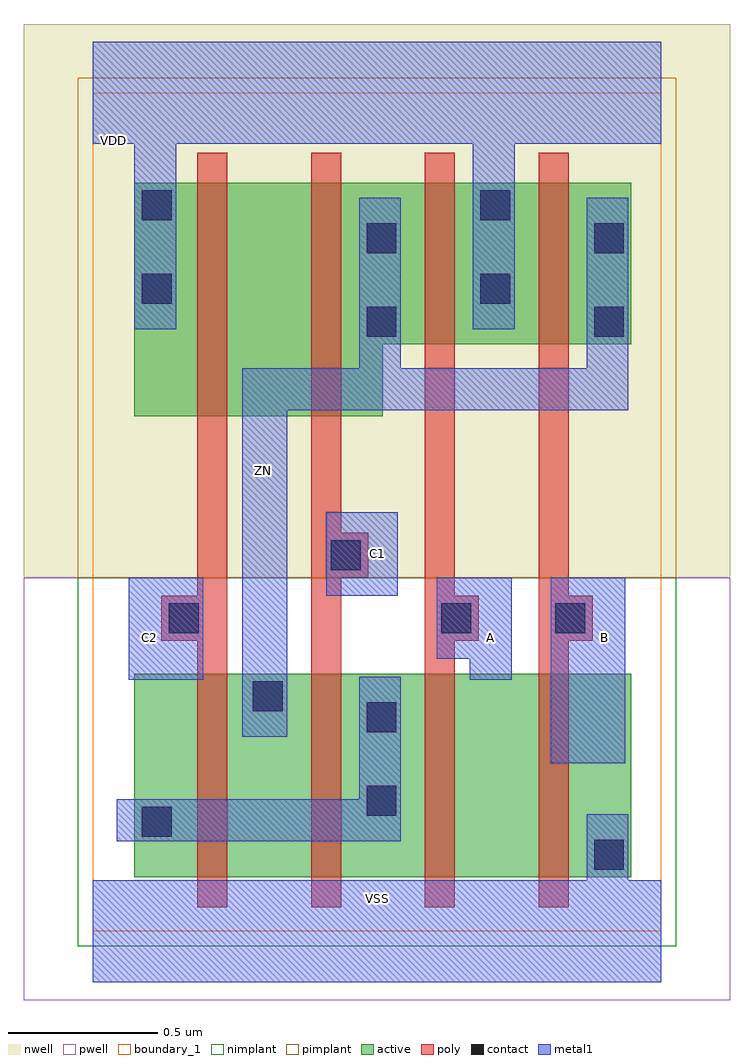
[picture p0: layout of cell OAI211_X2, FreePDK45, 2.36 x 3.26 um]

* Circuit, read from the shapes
.subckt OAI211_X2 A B C1 C2 VDD VSS ZN
M1 ZN C2 n1 VSUBS nfet w=0.68u l=0.1u
M2 n1 C1 ZN VSUBS nfet w=0.68u l=0.1u
M3 n2 A n1 VSUBS nfet w=0.68u l=0.1u
M4 VSS B n2 VSUBS nfet w=0.68u l=0.1u
M5 n3 C2 VDD n4 pfet w=0.78u l=0.1u
M6 ZN C1 n3 n4 pfet w=0.78u l=0.1u
M7 VDD A ZN n4 pfet w=0.54u l=0.1u
M8 ZN B VDD n4 pfet w=0.54u l=0.1u
.ends

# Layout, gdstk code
import gdstk
lib = gdstk.Library(unit=1e-6, precision=1e-09)
def R(c, l, rs):  # rectangles x0, y0, x1, y1
    for r in rs: c.add(gdstk.rectangle(r[:2], r[2:], *l))
def P(c, l, *ps):  # polygons
    for p in ps: c.add(gdstk.Polygon(p, *l))
active = (1, 0)
pwell = (2, 0)
nwell = (3, 0)
nimplant = (4, 0)
pimplant = (5, 0)
poly = (9, 0)
contact = (10, 0)
metal1 = (11, 0)
boundary_1 = (235, 1)

oai211_x2 = lib.new_cell('OAI211_X2')
R(oai211_x2, active, [(0.14,0.18,1.8,0.86)])
P(oai211_x2, active, [(0.14,1.72),(0.97,1.72),(0.97,1.96),(1.8,1.96),(1.8,2.5),(0.14,2.5)])
R(oai211_x2, pwell, [(-0.23,-0.23,2.13,1.18)])
R(oai211_x2, nwell, [(-0.23,1.18,2.13,3.03)])
R(oai211_x2, nimplant, [(-0.05,-0.05,1.95,1.18)])
R(oai211_x2, pimplant, [(-0.05,1.18,1.95,2.85)])
P(oai211_x2, poly, [(1.49,0.08),(1.59,0.08),(1.59,0.97),(1.67,0.97),(1.67,1.12),(1.59,1.12),(1.59,2.6),(1.49,2.6)],
  [(1.11,0.08),(1.21,0.08),(1.21,0.97),(1.29,0.97),(1.29,1.12),(1.21,1.12),(1.21,2.6),(1.11,2.6)],
  [(0.73,0.08),(0.83,0.08),(0.83,1.18),(0.92,1.18),(0.92,1.33),(0.83,1.33),(0.83,2.6),(0.73,2.6)],
  [(0.23,0.97),(0.35,0.97),(0.35,0.08),(0.45,0.08),(0.45,2.6),(0.35,2.6),(0.35,1.12),(0.23,1.12)])
R(oai211_x2, contact, [(1.675,0.205,1.775,0.305), (0.165,0.315,0.265,0.415), (0.915,0.385,1.015,0.485), (0.915,0.665,1.015,0.765), (0.535,0.735,0.635,0.835), (0.255,0.995,0.355,1.095), (1.165,0.995,1.265,1.095), (1.545,0.995,1.645,1.095), (0.795,1.205,0.895,1.305), (0.915,1.985,1.015,2.085), (1.675,1.985,1.775,2.085), (0.165,2.095,0.265,2.195), (1.295,2.095,1.395,2.195), (0.915,2.265,1.015,2.365), (1.675,2.265,1.775,2.365), (0.165,2.375,0.265,2.475), (1.295,2.375,1.395,2.475)])
R(oai211_x2, metal1, [(1.53,0.56,1.78,1.18), (1.53,0.56,1.78,1.18), (0.12,0.84,0.37,1.18), (0.12,0.84,0.37,1.18), (0.78,1.12,1.02,1.4), (0.78,1.12,1.02,1.4)])
P(oai211_x2, metal1, [(0.5,0.65),(0.65,0.65),(0.65,1.74),(1.79,1.74),(1.79,2.45),(1.65,2.45),(1.65,1.88),(1.03,1.88),(1.03,2.45),(0.89,2.45),(0.89,1.88),(0.5,1.88)],
  [(0,-0.17),(1.9,-0.17),(1.9,0.17),(1.79,0.17),(1.79,0.39),(1.65,0.39),(1.65,0.17),(0,0.17)],
  [(0,2.63),(0.14,2.63),(0.14,2.01),(0.28,2.01),(0.28,2.63),(1.27,2.63),(1.27,2.01),(1.41,2.01),(1.41,2.63),(1.9,2.63),(1.9,2.97),(0,2.97)],
  [(1.15,0.91),(1.26,0.91),(1.26,0.84),(1.4,0.84),(1.4,1.18),(1.15,1.18)],
  [(0,2.63),(0.14,2.63),(0.14,2.01),(0.28,2.01),(0.28,2.63),(1.27,2.63),(1.27,2.01),(1.41,2.01),(1.41,2.63),(1.9,2.63),(1.9,2.97),(0,2.97)],
  [(0,-0.17),(1.9,-0.17),(1.9,0.17),(1.79,0.17),(1.79,0.39),(1.65,0.39),(1.65,0.17),(0,0.17)],
  [(0.5,0.65),(0.65,0.65),(0.65,1.74),(1.79,1.74),(1.79,2.45),(1.65,2.45),(1.65,1.88),(1.03,1.88),(1.03,2.45),(0.89,2.45),(0.89,1.88),(0.5,1.88)],
  [(1.15,0.91),(1.26,0.91),(1.26,0.84),(1.4,0.84),(1.4,1.18),(1.15,1.18)],
  [(0.08,0.3),(1.03,0.3),(1.03,0.85),(0.89,0.85),(0.89,0.44),(0.08,0.44)])
R(oai211_x2, boundary_1, [(0,0,1.9,2.8)])
oai211_x2.add(gdstk.Label('ZN', (0.57,1.54), layer=11, texttype=0))
oai211_x2.add(gdstk.Label('VSS', (0.95,0.11), layer=11, texttype=0))
oai211_x2.add(gdstk.Label('VDD', (0.07,2.64), layer=11, texttype=0))
oai211_x2.add(gdstk.Label('C2', (0.19,0.98), layer=11, texttype=0))
oai211_x2.add(gdstk.Label('C1', (0.95,1.26), layer=11, texttype=0))
oai211_x2.add(gdstk.Label('B', (1.71,0.98), layer=11, texttype=0))
oai211_x2.add(gdstk.Label('A', (1.33,0.98), layer=11, texttype=0))

lib.write_gds('OAI211_X2.gds')
